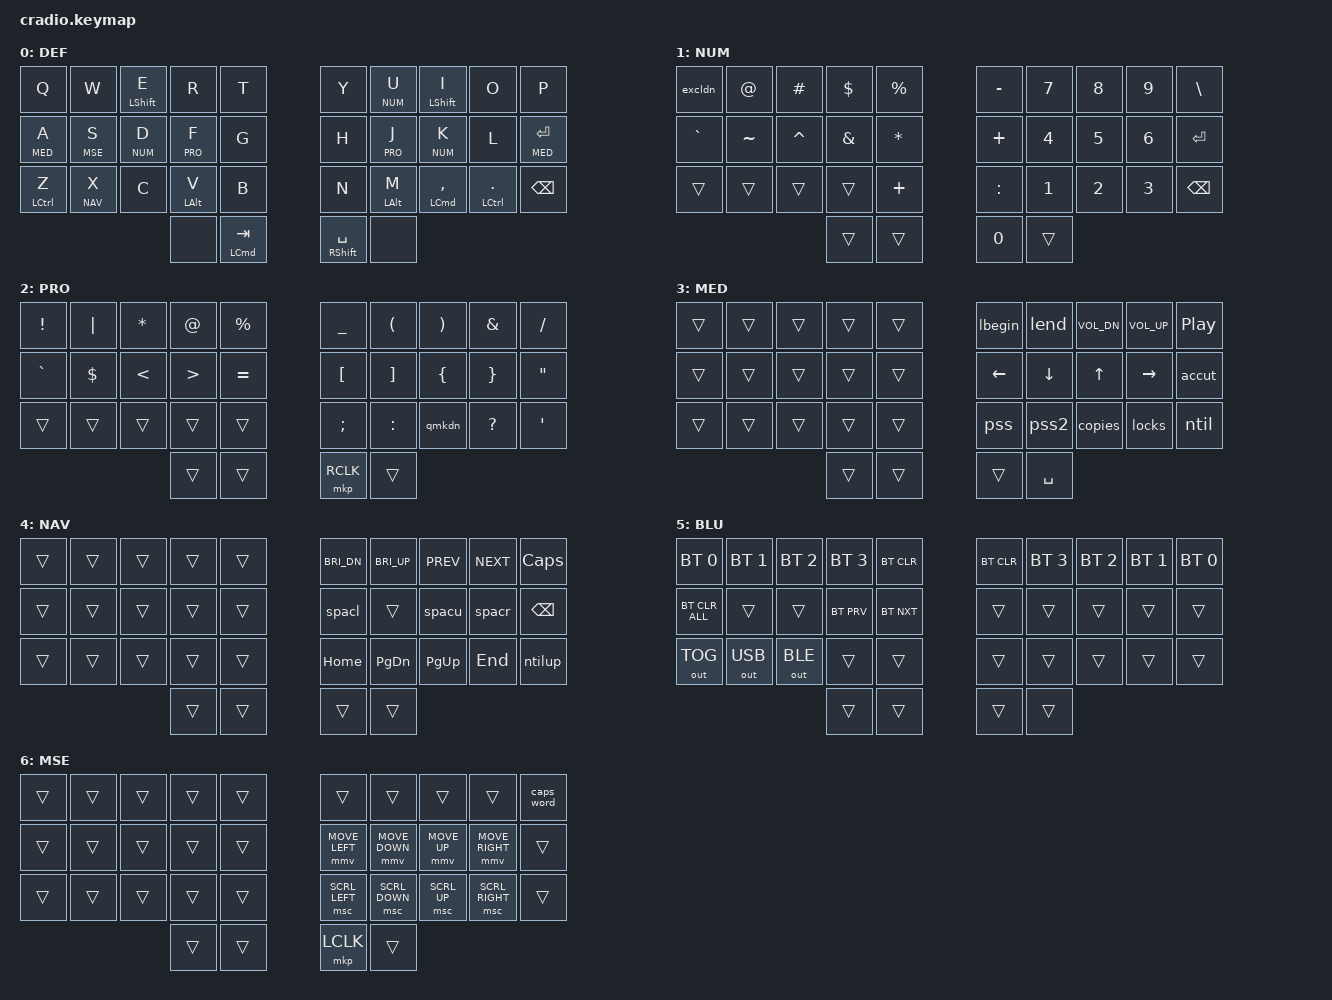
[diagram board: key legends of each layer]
// Copyright (c) 2022 The ZMK Contributors
// SPDX-License-Identifier: MIT

#include <behaviors.dtsi>
#include <dt-bindings/zmk/keys.h>
#include <dt-bindings/zmk/bt.h>
#include <dt-bindings/zmk/outputs.h>

#define ZMK_MOUSE_DEFAULT_MOVE_VAL 6000  // 600
#define ZMK_MOUSE_DEFAULT_SCRL_VAL 10    // 10

#include <dt-bindings/zmk/mouse.h>
#include <behaviors/mouse_keys.dtsi>
// #include <behaviors/mouse_move.dtsi>

&mmv {
    acceleration-exponent = <1>;      // 1
    time-to-max-speed-ms = <400>;     // 300
    delay-ms = <0>;                   // 0
};

&msc {
    acceleration-exponent = <1>;      // 0
    time-to-max-speed-ms = <0>;      // 300
    delay-ms = <0>;                   // 0
};

#define DEF     0
#define NUM     1
#define PRO     2
#define MED     3
#define NAV     4
#define BLU     5
#define MSE     6

#define BT0  &bt BT_SEL 0
#define BT1  &bt BT_SEL 1
#define BT2  &bt BT_SEL 2
#define BT3  &bt BT_SEL 3
#define BTN  &bt BT_NXT
#define BTP  &bt BT_PRV
#define BTC  &bt BT_CLR
#define BTCA  &bt BT_CLR_ALL
#define NO  &none
#define TR  &trans

#define CVOLU  &kp C_VOL_UP
#define CVOLD  &kp C_VOL_DN
#define CSNEX  &kp C_NEXT
#define CSPRE  &kp C_PREV

#define BOUT  &out OUT_TOG
#define BOUU  &out OUT_USB
#define BOUB  &out OUT_BLE

#define CBRID &kp C_BRI_DN
#define CBRIU &kp C_BRI_UP

&caps_word {
    continue-list = <UNDERSCORE MINUS BSPC SPACE>;
};

&lt {
    tapping-term-ms = <200>;
};

/ {
macros {
  #define OS_LEAD  &kp RALT &kp U  // OS specific sequence to initialize unicode
  #define OS_TRAIL &kp RET         // OS specific sequence to terminate unicode

  ntil: ntil { 
    compatible = "zmk,behavior-macro";
    #binding-cells = <0>;
    wait-ms = <0>;
    tap-ms = <0>;
    bindings
      = <&macro_press &kp LALT>
      , <&macro_tap &kp N0 &kp N0 &kp F &kp N1>
      , <&macro_release &kp LALT>
      ;    
  };

  ntilup: ntilup { 
    compatible = "zmk,behavior-macro";
    #binding-cells = <0>;
    wait-ms = <0>;
    tap-ms = <0>;
    bindings
      = <&macro_press &kp LALT>
      , <&macro_tap &kp N0 &kp N0 &kp D &kp N1>
      , <&macro_release &kp LALT>
      ;    
  };

  accut: accut { 
    compatible = "zmk,behavior-macro";
    #binding-cells = <0>;
    wait-ms = <0>;
    tap-ms = <0>;
    bindings
      = <&macro_press &kp LALT>
      , <&macro_tap &kp N0 &kp N3 &kp N0 &kp N1>
      , <&macro_release &kp LALT>
      ;    
  };

  excldn: excldn { 
    compatible = "zmk,behavior-macro";
    #binding-cells = <0>;
    wait-ms = <0>;
    tap-ms = <0>;
    bindings
      = <&macro_press &kp LALT>
      , <&macro_tap &kp N0 &kp N0 &kp A &kp N1>
      , <&macro_release &kp LALT>
      ;    
  };

  qmkdn: qmkdn {
    compatible = "zmk,behavior-macro";
    #binding-cells = <0>;
    wait-ms = <0>;
    tap-ms = <0>;
    bindings
      = <&macro_press &kp LALT>
      , <&macro_tap &kp N0 &kp N0 &kp B &kp F>
      , <&macro_release &kp LALT>
      ;    
  };

  pss: pss {
    compatible = "zmk,behavior-macro";
    #binding-cells = <0>;
    wait-ms = <15>;
    tap-ms = <10>;
    bindings 
        = <&kp I &kp P &kp S &kp U &kp M &kp E &kp S &kp S &kp E>
        ;
  };

  pss2: pss2 {
    compatible = "zmk,behavior-macro";
    #binding-cells = <0>;
    wait-ms = <15>;
    tap-ms = <10>;
    bindings 
        = <&kp LS(C) &kp A &kp M &kp P &kp N3 &kp S &kp T &kp R &kp N3 &kp N9 &kp DLLR &kp DLLR>
        ;
  };

  locks: locks {
    compatible = "zmk,behavior-macro";
    #binding-cells = <0>;
    wait-ms = <5>;
    tap-ms = <5>;
    bindings
        = <&macro_press &kp LCTRL &kp LGUI>
        , <&macro_tap &kp Q>
        , <&macro_release &kp LCTRL &kp LGUI>
        ;
  };

  spacl: spacl {
    compatible = "zmk,behavior-macro";
    #binding-cells = <0>;
    bindings
        = <&macro_press &kp LCTRL>
        , <&macro_tap &kp LEFT>
        , <&macro_release &kp LCTRL>
        ;
  };
  
  spacr: spacr {
    compatible = "zmk,behavior-macro";
    #binding-cells = <0>;
    bindings
        = <&macro_press &kp LCTRL>
        , <&macro_tap &kp RIGHT>
        , <&macro_release &kp LCTRL>
        ;
  };

  spacu: spacu {
    compatible = "zmk,behavior-macro";
    #binding-cells = <0>;
    bindings
        = <&macro_press &kp LCTRL>
        , <&macro_tap &kp UP>
        , <&macro_release &kp LCTRL>
        ;
  };

  lbegin: lbegin {
    compatible = "zmk,behavior-macro";
    #binding-cells = <0>;
    bindings
        = <&macro_press &kp LCTRL>
        , <&macro_tap &kp A>
        , <&macro_release &kp LCTRL>
        ;
  };

  lend: lend {
    compatible = "zmk,behavior-macro";
    #binding-cells = <0>;
    bindings
        = <&macro_press &kp LCTRL>
        , <&macro_tap &kp E>
        , <&macro_release &kp LCTRL>
        ;
  };

  copies: copies {
    compatible = "zmk,behavior-macro";
    #binding-cells = <0>;
    wait-ms = <5>;
    tap-ms = <5>;
    bindings
        = <&macro_press &kp LGUI &kp LSHFT>
        , <&macro_tap &kp N4>
        , <&macro_release &kp LGUI &kp LSHFT>
        ;
  };
};
};


/ {
    behaviors {    
      tp: tapping_preferred {
        compatible = "zmk,behavior-hold-tap";
        #binding-cells = <2>;
        flavor = "tap-preferred";
        tapping-term-ms = <200>;
        bindings = <&kp>, <&kp>;
      };
    };

    conditional_layers {
      compatible = "zmk,conditional-layers";
      blu_layer {
        if-layers = <PRO MED>;
        then-layer = <BLU>;
      };
    };

    keymap {
        compatible = "zmk,keymap";
// -----------------------------------------------------------------------------------------
    default_layer {
      display-name = "DEF";
      bindings = <
       &kp Q        &kp W      &tp LSHFT E  &kp R   &kp T          &kp Y  &lt NUM U   &tp LSHFT I      &kp O          &kp P         
       &lt MED A    &lt MSE S  &lt NUM D    &lt PRO F   &kp G      &kp H  &lt PRO J   &lt NUM K        &kp L          &lt MED ENTER
       &tp LCTRL Z  &lt NAV X  &kp C        &tp LALT V  &kp B      &kp N  &tp LALT M  &tp LCMD COMMA   &tp LCTRL DOT  &kp BSPC
       NO           &tp LCMD TAB                                   &tp RSHFT SPACE    NO
      >;
    };

    // -----------------------------------------------------------------------------------------
    num_layer {
      display-name = "NUM";
      bindings = <
       &excldn    &kp AT     &kp HASH   &kp DLLR   &kp PRCNT    &kp MINUS  &kp N7  &kp N8  &kp N9  &kp BSLH
       &kp GRAVE  &kp TILDE  &kp CARET  &kp AMPS   &kp STAR     &kp PLUS   &kp N4  &kp N5  &kp N6  &kp ENTER
       TR         TR         TR         TR         &kp PLUS     &kp COLON  &kp N1  &kp N2  &kp N3  &kp BSPC
       TR         TR                                            &kp N0     TR   
      >;
    };

    // -----------------------------------------------------------------------------------------
    prog_layer {
      display-name = "PRO";
      bindings = <
       &kp EXCL   &kp PIPE  &kp STAR  &kp AT   &kp PRCNT      &kp UNDER   &kp LPAR   &kp RPAR   &kp AMPS   &kp FSLH
       &kp GRAVE  &kp DLLR  &kp LT    &kp GT   &kp EQUAL      &kp LBKT    &kp RBKT   &kp LBRC   &kp RBRC   &kp DQT
       TR         TR        TR        TR         TR           &kp SEMI    &kp COLON  &qmkdn     &kp QMARK  &kp SQT
       TR         TR                                          &mkp RCLK   TR
      >;
    };

    // -----------------------------------------------------------------------------------------
    med_layer {
      display-name = "MED";
      bindings = <      
        TR  TR  TR  TR  TR      &lbegin    &lend      CVOLD    CVOLU      &kp C_PP 
        TR  TR  TR  TR  TR      &kp LEFT   &kp DOWN   &kp UP   &kp RIGHT  &accut
        TR  TR  TR  TR  TR      &pss       &pss2      &copies  &locks     &ntil
        TR  TR                  TR         &kp SPACE
      >;
    };

    // -----------------------------------------------------------------------------------------
    nav_layer {
      display-name = "NAV";
      bindings = <      
        TR  TR  TR  TR  TR           CBRID      CBRIU      CSPRE      CSNEX    &kp CAPS
        TR  TR  TR  TR  TR           &spacl     TR         &spacu     &spacr   &kp BSPC
        TR  TR  TR  TR  TR           &kp HOME   &kp PG_DN  &kp PG_UP  &kp END  &ntilup
        TR  TR                       TR         TR
      >;
    };

    // -----------------------------------------------------------------------------------------
    blu_layer {
      display-name = "BLU";
      bindings = <      
        BT0   BT1   BT2   BT3  BTC      BTC  BT3  BT2  BT1  BT0
        BTCA  TR    TR    BTP  BTN      TR   TR   TR   TR   TR
        BOUT  BOUU  BOUB  TR   TR       TR   TR   TR   TR   TR
        TR  TR                          TR   TR
      >;
    };

    // -----------------------------------------------------------------------------------------
    mse_layer {
      display-name = "MSE";
      bindings = <      
        TR  TR  TR  TR  TR      TR              TR              TR            TR              &caps_word
        TR  TR  TR  TR  TR      &mmv MOVE_LEFT  &mmv MOVE_DOWN  &mmv MOVE_UP  &mmv MOVE_RIGHT TR
        TR  TR  TR  TR  TR      &msc SCRL_LEFT  &msc SCRL_DOWN  &msc SCRL_UP  &msc SCRL_RIGHT TR
        TR  TR                  &mkp LCLK       TR
      >;
    };


    };
};
